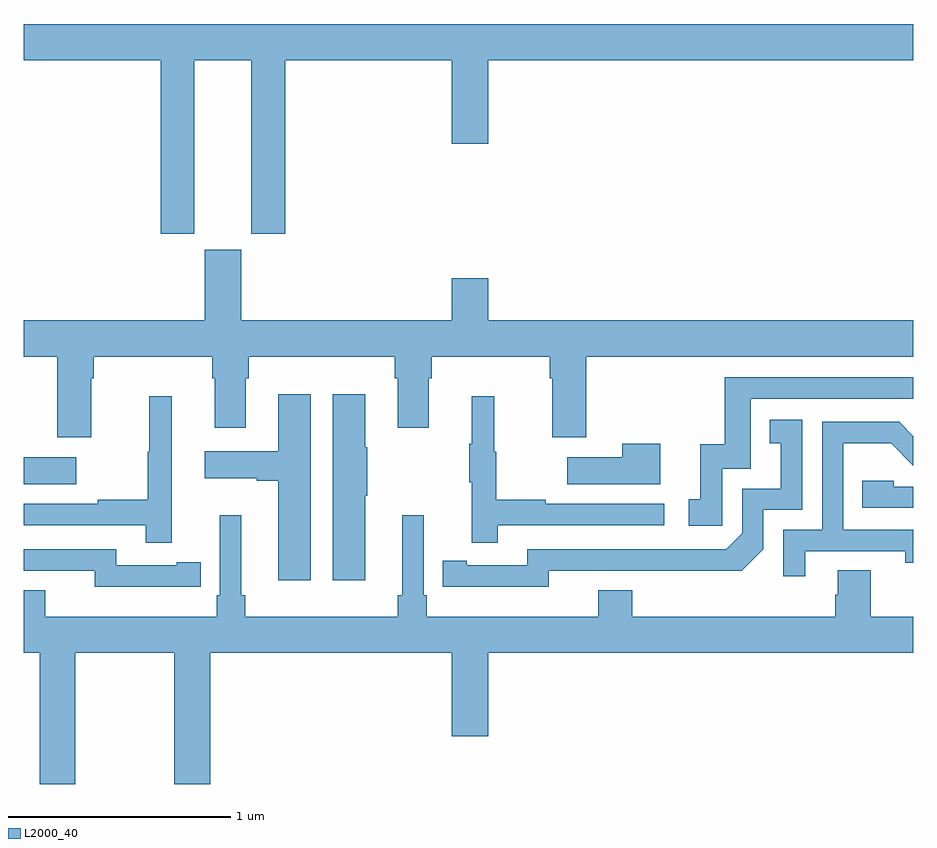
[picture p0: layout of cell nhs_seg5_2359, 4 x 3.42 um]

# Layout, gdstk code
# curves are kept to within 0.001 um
import gdstk
lib = gdstk.Library(unit=1e-6, precision=1e-09)
def R(c, l, rs):  # rectangles x0, y0, x1, y1
    for r in rs: c.add(gdstk.rectangle(r[:2], r[2:], *l))
def P(c, l, *ps):  # polygons
    for p in ps: c.add(gdstk.Polygon(p, *l))
L2000_40 = (2000, 40)

nhs_seg5_2359 = lib.new_cell('nhs_seg5_2359')
R(nhs_seg5_2359, L2000_40, [(247,896.147,247.237,896.269)])
P(nhs_seg5_2359, L2000_40, [(247,898.052),(247.616,898.052),(247.616,897.273),(247.768,897.273),(247.768,898.052),(248.024,898.052),(248.024,897.273),(248.177,897.273),(248.177,898.052),(248.924,898.052),(248.924,897.678),(249.088,897.678),(249.088,898.052),(251,898.052),(251,898.216),(247,898.216)],
  [(247.303,896.624),(247.316,896.624),(247.316,896.72),(247.847,896.72),(247.847,896.624),(247.859,896.624),(247.859,896.4),(247.999,896.4),(247.999,896.624),(248.012,896.624),(248.012,896.72),(248.669,896.72),(248.669,896.624),(248.681,896.624),(248.681,896.4),(248.821,896.4),(248.821,896.624),(248.834,896.624),(248.834,896.72),(249.365,896.72),(249.365,896.624),(249.377,896.624),(249.377,896.358),(249.53,896.358),(249.53,896.72),(251,896.72),(251,896.884),(249.088,896.884),(249.088,897.073),(248.924,897.073),(248.924,896.884),(247.978,896.884),(247.978,897.201),(247.814,897.201),(247.814,896.884),(247,896.884),(247,896.72),(247.151,896.72),(247.151,896.358),(247.303,896.358)],
  [(250.14,896.217),(250.269,896.217),(250.269,896.532),(250.998,896.532),(251,896.53),(251,896.628),(250.153,896.628),(250.153,896.326),(250.043,896.326),(250.043,896.079),(249.99,896.079),(249.99,895.959),(250.14,895.959)],
  [(248.29,896.551),(248.144,896.551),(248.144,896.296),(247.815,896.296),(247.815,896.174),(248.048,896.174),(248.048,896.162),(248.144,896.162),(248.144,895.716),(248.29,895.716)],
  [(248.536,896.095),(248.544,896.095),(248.544,896.312),(248.536,896.312),(248.536,896.551),(248.39,896.551),(248.39,895.716),(248.536,895.716)],
  [(249.131,895.962),(249.88,895.962),(249.88,896.058),(249.347,896.058),(249.347,896.078),(249.124,896.078),(249.124,896.292),(249.116,896.292),(249.116,896.542),(249.014,896.542),(249.014,896.329),(249.003,896.329),(249.003,896.155),(249.014,896.155),(249.014,895.884),(249.131,895.884)],
  [(247.666,896.542),(247.564,896.542),(247.564,896.292),(247.557,896.292),(247.557,896.078),(247.333,896.078),(247.333,896.058),(247,896.058),(247,895.962),(247.549,895.962),(247.549,895.884),(247.666,895.884)],
  [(249.36,895.758),(250.228,895.757),(250.326,895.854),(250.326,896.031),(250.5,896.031),(250.5,896.437),(250.354,896.437),(250.354,896.331),(250.403,896.331),(250.403,896.127),(250.23,896.127),(250.23,895.926),(250.158,895.854),(249.264,895.854),(249.264,895.782),(248.992,895.782),(248.992,895.802),(248.884,895.802),(248.884,895.686),(249.36,895.685)],
  [(250.513,895.845),(250.964,895.845),(250.964,895.794),(251,895.794),(251,895.941),(250.686,895.941),(250.686,896.33),(250.9,896.33),(251,896.23),(251,896.363),(250.936,896.427),(250.59,896.427),(250.59,895.941),(250.416,895.941),(250.416,895.734),(250.513,895.734)],
  [(249.862,896.329),(249.692,896.329),(249.692,896.269),(249.443,896.269),(249.443,896.147),(249.862,896.147)],
  [(251,896.136),(250.911,896.136),(250.911,896.163),(250.771,896.163),(250.771,896.04),(251,896.04)],
  [(247.233,895.388),(247.678,895.388),(247.678,894.799),(247.838,894.799),(247.838,895.388),(248.924,895.388),(248.924,895.014),(249.088,895.014),(249.088,895.388),(251,895.388),(251,895.552),(250.809,895.552),(250.809,895.76),(250.661,895.76),(250.661,895.65),(250.649,895.65),(250.649,895.552),(249.737,895.552),(249.737,895.669),(249.584,895.669),(249.584,895.552),(248.813,895.552),(248.813,895.648),(248.799,895.648),(248.799,896.008),(248.702,896.008),(248.702,895.648),(248.683,895.648),(248.683,895.552),(247.997,895.552),(247.997,895.648),(247.978,895.648),(247.978,896.008),(247.881,896.008),(247.881,895.648),(247.868,895.648),(247.868,895.552),(247.096,895.552),(247.096,895.669),(247,895.669),(247,895.388),(247.073,895.388),(247.073,894.799),(247.233,894.799)],
  [(247.688,895.686),(247.796,895.686),(247.796,895.795),(247.688,895.795),(247.688,895.782),(247.416,895.782),(247.416,895.854),(247,895.854),(247,895.758),(247.32,895.758),(247.32,895.685),(247.688,895.685)])

lib.write_gds('nhs_seg5_2359.gds')
